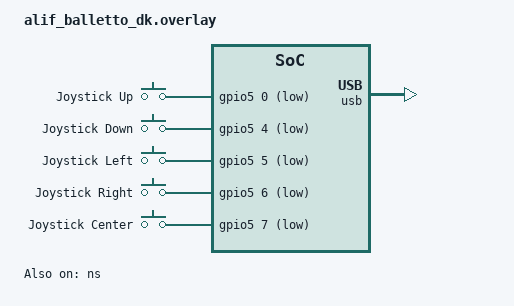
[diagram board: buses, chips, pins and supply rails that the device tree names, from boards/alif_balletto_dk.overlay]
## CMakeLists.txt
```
# Copyright Alif Semiconductor - All Rights Reserved.

cmake_minimum_required(VERSION 3.20.0)

# One suite per image. -DCONFIG_HID_TEST_* must be set before find_package
# so the matching overlay and product string are applied.
if(CONFIG_HID_TEST_KEYBOARD)
  list(APPEND EXTRA_DTC_OVERLAY_FILE
       "${CMAKE_CURRENT_LIST_DIR}/overlay-keyboard.overlay")
  list(APPEND EXTRA_CONF_FILE
       "${CMAKE_CURRENT_LIST_DIR}/extras-keyboard.conf")
elseif(CONFIG_HID_TEST_JOYSTICK)
  list(APPEND EXTRA_DTC_OVERLAY_FILE
       "${CMAKE_CURRENT_LIST_DIR}/overlay-joystick.overlay")
  list(APPEND EXTRA_CONF_FILE
       "${CMAKE_CURRENT_LIST_DIR}/extras-joystick.conf")
  if(BOARD MATCHES "alif_e[78]_dk")
    list(APPEND EXTRA_DTC_OVERLAY_FILE
         "${CMAKE_CURRENT_LIST_DIR}/boards/alif_ensemble_dk.overlay")
  elseif(BOARD MATCHES "alif_(e1c|b1)_dk")
    list(APPEND EXTRA_DTC_OVERLAY_FILE
         "${CMAKE_CURRENT_LIST_DIR}/boards/alif_balletto_dk.overlay")
  endif()
else()
  list(APPEND EXTRA_DTC_OVERLAY_FILE
       "${CMAKE_CURRENT_LIST_DIR}/overlay-mouse.overlay")
  list(APPEND EXTRA_CONF_FILE
       "${CMAKE_CURRENT_LIST_DIR}/extras-mouse.conf")
endif()

find_package(Zephyr REQUIRED HINTS $ENV{ZEPHYR_BASE})
project(alif_usb_hid_qa)

if(CONFIG_HID_TEST_KEYBOARD)
  target_sources(app PRIVATE src/test_hid_keyboard.c)
elseif(CONFIG_HID_TEST_JOYSTICK)
  target_sources(app PRIVATE src/test_hid_joystick.c)
else()
  target_sources(app PRIVATE src/test_hid_mouse.c)
endif()

include(${ZEPHYR_BASE}/samples/subsys/usb/common/common.cmake)
```

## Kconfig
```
# Source common USB sample options used to initialize USB device stack.
source "samples/subsys/usb/common/Kconfig.sample_usbd"

source "Kconfig.zephyr"

menu "Alif USB HID QA"

choice HID_TEST_SUITE
	prompt "HID QA suite to compile"
	default HID_TEST_MOUSE
	help
	  Pick one device. One image, one HID interface:

	    west build ... -- -DCONFIG_HID_TEST_MOUSE=y
	    west build ... -- -DCONFIG_HID_TEST_KEYBOARD=y
	    west build ... -- -DCONFIG_HID_TEST_JOYSTICK=y

config HID_TEST_MOUSE
	bool "Mouse (4-byte relative report)"

config HID_TEST_KEYBOARD
	bool "Keyboard (8-byte boot report)"

config HID_TEST_JOYSTICK
	bool "Joystick (3-byte report)"

endchoice

endmenu
```

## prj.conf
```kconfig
CONFIG_USB_DEVICE_STACK_NEXT=y
CONFIG_USBD_HID_SUPPORT=y
CONFIG_USBD_HID_IN_BUF_COUNT=64
CONFIG_UDC_DWC3=y

CONFIG_INPUT=y
CONFIG_INPUT_MODE_SYNCHRONOUS=y

CONFIG_SERIAL=y
CONFIG_STDOUT_CONSOLE=y

CONFIG_LOG=y
CONFIG_USBD_LOG_LEVEL_WRN=y
CONFIG_USBD_HID_LOG_LEVEL_WRN=y
CONFIG_UDC_DRIVER_LOG_LEVEL_WRN=y

CONFIG_ZTEST=y
CONFIG_ZTEST_STACK_SIZE=4096

CONFIG_SAMPLE_USBD_MANUFACTURER="Alif Semiconductor"
CONFIG_SAMPLE_USBD_PID=0x0008
```

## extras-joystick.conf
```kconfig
CONFIG_GPIO=y
CONFIG_INPUT_GPIO_KEYS=y
CONFIG_SAMPLE_USBD_PRODUCT="Alif HID Joystick"
```

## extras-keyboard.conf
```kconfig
CONFIG_SAMPLE_USBD_PRODUCT="Alif HID Keyboard"
```

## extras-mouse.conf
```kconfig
CONFIG_SAMPLE_USBD_PRODUCT="Alif HID Mouse"
```

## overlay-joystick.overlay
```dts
/*
 * Common USB + HID for all Alif boards. Joystick GPIOs stay in
 * boards/<board>.overlay so a plain west build picks this up.
 */

#include <dt-bindings/misc/alif_aipm_common.h>

&aipm_run_default {
	phy-pwr-gating = <ALIF_PHY_GATE_USB_MASK>;
};

&ns {
	status = "okay";
};

zephyr_udc0: &usb {
	status = "okay";
};

/* Board SW0 has no zephyr,code; INPUT_GPIO_KEYS requires one. */
&button0 {
	status = "disabled";
};

/ {
	hid_dev_0: hid_dev_0 {
		compatible = "zephyr,hid-device";
		interface-name = "HID0";
		protocol-code = "none";
		in-polling-period-us = <10000>;
		in-report-size = <64>;
	};
};
```

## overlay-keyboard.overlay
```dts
#include <dt-bindings/misc/alif_aipm_common.h>

&aipm_run_default {
	phy-pwr-gating = <ALIF_PHY_GATE_USB_MASK>;
};

&ns {
	status = "okay";
};

zephyr_udc0: &usb {
	status = "okay";
};

&button0 {
	status = "disabled";
};

/ {
	hid_dev_0: hid_dev_0 {
		compatible = "zephyr,hid-device";
		interface-name = "HID0";
		protocol-code = "keyboard";
		in-polling-period-us = <1000>;
		in-report-size = <64>;
	};
};
```

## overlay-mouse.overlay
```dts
#include <dt-bindings/misc/alif_aipm_common.h>

&aipm_run_default {
	phy-pwr-gating = <ALIF_PHY_GATE_USB_MASK>;
};

&ns {
	status = "okay";
};

zephyr_udc0: &usb {
	status = "okay";
};

&button0 {
	status = "disabled";
};

/ {
	hid_dev_0: hid_dev_0 {
		compatible = "zephyr,hid-device";
		interface-name = "HID0";
		protocol-code = "none";
		in-polling-period-us = <10000>;
		in-report-size = <4>;
	};
};
```

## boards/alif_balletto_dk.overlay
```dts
/*
 * Copyright (c) 2026 Alif Semiconductor.
 * SPDX-License-Identifier: Apache-2.0
 */

#include <dt-bindings/misc/alif_aipm_common.h>
#include <dt-bindings/input/input-event-codes.h>

&aipm_run_default {
	phy-pwr-gating = <ALIF_PHY_GATE_USB_MASK>;
};

ns: &ns{
	status = "okay";
};

zephyr_udc0: &usb {
	status = "okay";
};

&pinctrl_gpio5 {
	group0 {
		driver-state-control = <1>;
	};
};

&gpio5 {
	status = "okay";
};

/* Board SW0 must not emit input code 0 (sample treats that as unknown). */
&button0 {
	status = "disabled";
};

/ {
	hid_dev_0: hid_dev_0 {
		compatible = "zephyr,hid-device";
		interface-name = "HID0";
		protocol-code = "none";
		in-polling-period-us = <10000>;
		in-report-size = <64>;
	};

	joystick {
		compatible = "gpio-keys";

		joy_up: up {
			gpios = <&gpio5 0 GPIO_ACTIVE_LOW>;
			label = "Joystick Up";
			zephyr,code = <INPUT_KEY_UP>;
		};

		joy_down: down {
			gpios = <&gpio5 4 GPIO_ACTIVE_LOW>;
			label = "Joystick Down";
			zephyr,code = <INPUT_KEY_DOWN>;
		};

		joy_left: left {
			gpios = <&gpio5 5 GPIO_ACTIVE_LOW>;
			label = "Joystick Left";
			zephyr,code = <INPUT_KEY_LEFT>;
		};

		joy_right: right {
			gpios = <&gpio5 6 GPIO_ACTIVE_LOW>;
			label = "Joystick Right";
			zephyr,code = <INPUT_KEY_RIGHT>;
		};

		joy_center: center {
			gpios = <&gpio5 7 GPIO_ACTIVE_LOW>;
			label = "Joystick Center";
			zephyr,code = <INPUT_KEY_ENTER>;
		};
	};
};
```

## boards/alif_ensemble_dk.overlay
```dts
/*
 * Copyright (c) 2026 Alif Semiconductor.
 * SPDX-License-Identifier: Apache-2.0
 */

#include <dt-bindings/misc/alif_aipm_common.h>
#include <dt-bindings/input/input-event-codes.h>

&aipm_run_default {
	phy-pwr-gating = <ALIF_PHY_GATE_USB_MASK>;
};

ns: &ns{
	status = "okay";
};

zephyr_udc0: &usb {
	status = "okay";
};

&pinctrl_lpgpio {
	group0 {
		driver-state-control = <1>;
	};
};

&lpgpio {
	status = "okay";
};

/* Board SW0 is the same pad as joy_center (lpgpio 4). Disable the
 * gpio-keys duplicate so center maps to INPUT_KEY_ENTER, not code 0.
 */
&button0 {
	status = "disabled";
};

/ {
	hid_dev_0: hid_dev_0 {
		compatible = "zephyr,hid-device";
		interface-name = "HID0";
		protocol-code = "none";
		in-polling-period-us = <10000>;
		in-report-size = <64>;
	};

	joystick {
		compatible = "gpio-keys";

		joy_up: up {
			gpios = <&lpgpio 0 GPIO_ACTIVE_LOW>;
			label = "Joystick Up";
			zephyr,code = <INPUT_KEY_UP>;
		};

		joy_down: down {
			gpios = <&lpgpio 1 GPIO_ACTIVE_LOW>;
			label = "Joystick Down";
			zephyr,code = <INPUT_KEY_DOWN>;
		};

		joy_left: left {
			gpios = <&lpgpio 2 GPIO_ACTIVE_LOW>;
			label = "Joystick Left";
			zephyr,code = <INPUT_KEY_LEFT>;
		};

		joy_right: right {
			gpios = <&lpgpio 3 GPIO_ACTIVE_LOW>;
			label = "Joystick Right";
			zephyr,code = <INPUT_KEY_RIGHT>;
		};

		joy_center: center {
			gpios = <&lpgpio 4 GPIO_ACTIVE_LOW>;
			label = "Joystick Center";
			zephyr,code = <INPUT_KEY_ENTER>;
		};
	};
};
```

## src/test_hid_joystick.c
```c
/* Copyright Alif Semiconductor - All Rights Reserved.
 * Use, distribution and modification of this code is permitted under the
 * terms stated in the Alif Semiconductor Software License Agreement
 *
 * You should have received a copy of the Alif Semiconductor Software
 * License Agreement with this file. If not, please write to:
 * contact@alifsemi.com, or visit: https://alifsemi.com/license
 */

#include <zephyr/ztest.h>
#include <zephyr/device.h>
#include <zephyr/input/input.h>
#include <zephyr/usb/usbd.h>
#include <zephyr/usb/class/usb_hid.h>
#include <zephyr/usb/class/usbd_hid.h>
#include <zephyr/drivers/usb/udc_buf.h>
#include <zephyr/kernel.h>
#include <string.h>
#include <sample_usbd.h>

#define JOYSTICK_BUTTON          0
#define JOYSTICK_X               1
#define JOYSTICK_Y               2
#define JOYSTICK_REPORT_COUNT    3
#define JOYSTICK_AXIS_DELTA      20
#define STRESS_ITERATIONS        50
#define RAPID_TOGGLE_COUNT       20
#define PERF_INJECT_COUNT        200
#define PERF_SUBMIT_COUNT        50
#define IFACE_READY_TIMEOUT_MS   3000
#define REENUM_TIMEOUT_MS        10000

#define HID_JOYSTICK_REPORT_DESC(bcnt) \
{ \
	HID_USAGE_PAGE(HID_USAGE_GEN_DESKTOP), \
	HID_USAGE(HID_USAGE_GEN_DESKTOP_JOYSTICK), \
	HID_COLLECTION(HID_COLLECTION_APPLICATION), \
		HID_USAGE_PAGE(HID_USAGE_GEN_BUTTON), \
		HID_USAGE_MIN8(1), \
		HID_USAGE_MAX8(bcnt), \
		HID_LOGICAL_MIN8(0), \
		HID_LOGICAL_MAX8(1), \
		HID_REPORT_SIZE(1), \
		HID_REPORT_COUNT(bcnt), \
		HID_INPUT(0x02), \
		HID_REPORT_SIZE(8 - bcnt), \
		HID_REPORT_COUNT(1), \
		HID_INPUT(0x03), \
		HID_USAGE_PAGE(HID_USAGE_GEN_DESKTOP), \
		HID_USAGE(HID_USAGE_GEN_DESKTOP_X), \
		HID_USAGE(HID_USAGE_GEN_DESKTOP_Y), \
		HID_LOGICAL_MIN8(-127), \
		HID_LOGICAL_MAX8(127), \
		HID_REPORT_SIZE(8), \
		HID_REPORT_COUNT(2), \
		HID_INPUT(0x02), \
	HID_END_COLLECTION \
}

static const uint8_t hid_report_desc[] = HID_JOYSTICK_REPORT_DESC(1);
static const uint8_t report_neutral[JOYSTICK_REPORT_COUNT] = {0, 0, 0};

struct hid_joystick_qa_fixture {
	const struct device *hid_dev;
	struct usbd_context *usbd_ctx;
	int register_ret;
};

static struct hid_joystick_qa_fixture *g_hid;

/* DWC3 requires 32-byte aligned transfer buffers (same as the sample). */
UDC_STATIC_BUF_DEFINE(report, JOYSTICK_REPORT_COUNT);
static atomic_t hid_iface_ready;
static volatile int unrecognized_code;
static volatile int unrecognized_count;
static K_SEM_DEFINE(ep_write_sem, 0, 1);

static void iface_ready_cb(const struct device *dev, const bool ready)
{
	ARG_UNUSED(dev);
	atomic_set(&hid_iface_ready, ready ? 1 : 0);
	TC_PRINT("HID iface ready=%d\n", ready ? 1 : 0);
	if (ready) {
		k_sem_give(&ep_write_sem);
	}
}

static void input_report_done_cb(const struct device *dev, const uint8_t *const rpt)
{
	ARG_UNUSED(dev);
	ARG_UNUSED(rpt);
	k_sem_give(&ep_write_sem);
}

static int hid_get_report(const struct device *dev, const uint8_t type, const uint8_t id,
			  const uint16_t len, uint8_t *const buf)
{
	size_t n = MIN(len, (uint16_t)JOYSTICK_REPORT_COUNT);

	ARG_UNUSED(dev);
	ARG_UNUSED(type);
	ARG_UNUSED(id);

	if (n == 0) {
		return -ENOTSUP;
	}

	memcpy(buf, report, n);
	return (int)n;
}

static const struct hid_device_ops hid_ops = {
	.iface_ready = iface_ready_cb,
	.get_report = hid_get_report,
	.input_report_done = input_report_done_cb,
};

static void input_cb(struct input_event *evt, void *user_data)
{
	ARG_UNUSED(user_data);

	switch (evt->code) {
	case INPUT_KEY_RIGHT:
		report[JOYSTICK_X] = evt->value ? JOYSTICK_AXIS_DELTA : 0;
		break;
	case INPUT_KEY_LEFT:
		report[JOYSTICK_X] = evt->value ? (uint8_t)(-JOYSTICK_AXIS_DELTA) : 0;
		break;
	case INPUT_KEY_UP:
		report[JOYSTICK_Y] = evt->value ? (uint8_t)(-JOYSTICK_AXIS_DELTA) : 0;
		break;
	case INPUT_KEY_DOWN:
		report[JOYSTICK_Y] = evt->value ? JOYSTICK_AXIS_DELTA : 0;
		break;
	case INPUT_KEY_ENTER:
		WRITE_BIT(report[JOYSTICK_BUTTON], 0, evt->value);
		break;
	default:
		unrecognized_code = evt->code;
		unrecognized_count++;
		return;
	}
}

INPUT_CALLBACK_DEFINE(NULL, input_cb, NULL);

static void wait_iface_ready_ms(int timeout_ms)
{
	int waited = 0;

	while (!atomic_get(&hid_iface_ready) && waited < timeout_ms) {
		k_sleep(K_MSEC(50));
		waited += 50;
	}
}

static void wait_iface_ready(void)
{
	wait_iface_ready_ms(IFACE_READY_TIMEOUT_MS);
}

/* Host re-enumeration after usbd_disable can take several seconds. */
static void wait_host_reenum(void)
{
	wait_iface_ready_ms(REENUM_TIMEOUT_MS);
	TC_PRINT("HID iface ready=%d after re-enum wait\n",
		 atomic_get(&hid_iface_ready) ? 1 : 0);
}

static void skip_if_no_host(void)
{
	if (!atomic_get(&hid_iface_ready)) {
		TC_PRINT("HID iface not ready (no host), skipping\n");
		ztest_test_skip();
	}
}

/*
 * Do not wait for input_report_done before the first submit: that callback
 * only runs after the host ACKs interrupt IN (e.g. hidraw open). If nobody
 * is reading hidraw, a pre-wait times out and poisons later disable/enable.
 * On -ENOMEM wait briefly for a completed IN and retry.
 */
static int submit_hid_report(const struct device *hid_dev)
{
	int err;
	int tries = 5;

	while (tries--) {
		err = hid_device_submit_report(hid_dev, JOYSTICK_REPORT_COUNT, report);
		if (err != -ENOMEM) {
			return err;
		}
		if (k_sem_take(&ep_write_sem, K_MSEC(200)) != 0) {
			TC_PRINT("HID IN pool empty and host not completing reports\n");
			return -ENOMEM;
		}
	}

	return err;
}

static void inject_key(uint16_t code, int32_t value)
{
	int err = input_report_key(NULL, code, value, true, K_FOREVER);

	zassert_equal(err, 0, "input_report_key(%u, %d) failed (%d)", code, value, err);
}

static void *hid_suite_setup(void)
{
	static struct hid_joystick_qa_fixture fixture;
	int err;

	TC_PRINT("\n*** hid_joystick_qa ztest (not the hid-joystick sample) ***\n");

	memset(report, 0, sizeof(report));
	unrecognized_count = 0;
	atomic_set(&hid_iface_ready, 0);

	fixture.hid_dev = DEVICE_DT_GET_ONE(zephyr_hid_device);
	zassert_not_null(fixture.hid_dev, "HID device not found in DT");
	zassert_true(device_is_ready(fixture.hid_dev), "HID device not ready");

	fixture.register_ret = hid_device_register(fixture.hid_dev, hid_report_desc,
						   sizeof(hid_report_desc), &hid_ops);
	zassert_equal(fixture.register_ret, 0,
		      "hid_device_register failed (%d)", fixture.register_ret);

	fixture.usbd_ctx = sample_usbd_init_device(NULL);
	zassert_not_null(fixture.usbd_ctx, "USB device init failed");

	err = usbd_enable(fixture.usbd_ctx);
	zassert_equal(err, 0, "usbd_enable failed (%d)", err);

	TC_PRINT("USB HID joystick stack initialized and enabled\n");
	wait_iface_ready();
	g_hid = &fixture;
	return &fixture;
}

static void hid_suite_before(void *f)
{
	ARG_UNUSED(f);
	memset(report, 0, sizeof(report));
	unrecognized_code = -1;
	unrecognized_count = 0;
}

static void hid_suite_teardown(void *f)
{
	ARG_UNUSED(f);
	TC_PRINT("USB device stack remains enabled for host enumeration\n");
}

/*
 * HID Device Ready
 *
 * Purpose : Confirm the zephyr,hid-device node is present and the driver
 *           bound (same check as sample main() before usb_enable).
 * Method  : DEVICE_DT_GET_ONE(zephyr_hid_device) + device_is_ready().
 * Pass    : Device pointer is non-NULL and ready.
 * Fail    : Node missing or driver not initialized.
 */
ZTEST_F(hid_joystick_qa, test_hid_device_ready)
{
	zassert_not_null(fixture->hid_dev, "HID device is NULL");
	zassert_true(device_is_ready(fixture->hid_dev), "HID device not ready");
	TC_PRINT("HID device %s ready\n", fixture->hid_dev->name);
}

/*
 * HID Device Register
 *
 * Purpose : Register the joystick HID report descriptor and callbacks
 *           (sample hid_device_register path).
 * Method  : Record the setup-time hid_device_register() return value.
 * Pass    : Return value is 0.
 * Fail    : Register returned a non-zero errno.
 */
ZTEST_F(hid_joystick_qa, test_hid_device_register)
{
	zassert_equal(fixture->register_ret, 0,
		      "hid_device_register failed (%d)", fixture->register_ret);
}

/*
 * HID Report Descriptor
 *
 * Purpose : Validate the descriptor is a Generic Desktop Joystick (Usage 0x04)
 *           matching samples/subsys/usb/hid-joystick.
 * Method  : Inspect the static report descriptor bytes.
 * Pass    : Usage Page Desktop (0x05 0x01) and Usage Joystick (0x09 0x04).
 * Fail    : Descriptor too short or wrong usage.
 */
ZTEST_F(hid_joystick_qa, test_hid_report_descriptor)
{
	zassert_true(sizeof(hid_report_desc) >= 6, "Report descriptor too small");
	zassert_equal(hid_report_desc[0], 0x05, "Missing Usage Page");
	zassert_equal(hid_report_desc[1], HID_USAGE_GEN_DESKTOP, "Not Generic Desktop");
	zassert_equal(hid_report_desc[2], 0x09, "Missing Usage");
	zassert_equal(hid_report_desc[3], HID_USAGE_GEN_DESKTOP_JOYSTICK,
		      "Usage is not Joystick (0x04)");
	TC_PRINT("HID report descriptor size=%u joystick usage OK\n",
		 (unsigned int)sizeof(hid_report_desc));
}

/*
 * HID Interface Ready
 *
 * Purpose : Host enumerated the HID interface (QA: dmesg hid-generic Joystick,
 *           /dev/hidraw0). Matches sample log "HID iface ready=1".
 * Method  : Wait up to 3 s for iface_ready callback.
 * Pass    : hid_iface_ready is true.
 * Fail    : Timeout with no host (skip so suite can still run unattended).
 */
ZTEST_F(hid_joystick_qa, test_hid_iface_ready)
{
	wait_iface_ready();
	if (!atomic_get(&hid_iface_ready)) {
		TC_PRINT("Host not connected; plug USB device port and re-run\n");
		ztest_test_skip();
	}
	zassert_true(atomic_get(&hid_iface_ready), "HID iface not ready");
}

/*
 * USB Speed Capability
 *
 * Purpose : Query DWC3 speed capability (host log: high-speed xhci).
 * Method  : usbd_caps_speed().
 * Pass    : USBD_SPEED_FS or USBD_SPEED_HS.
 * Fail    : Unexpected speed value.
 */
ZTEST_F(hid_joystick_qa, test_usb_speed_capability)
{
	enum usbd_speed speed = usbd_caps_speed(fixture->usbd_ctx);

	TC_PRINT("USB controller speed capability: %s\n",
		 speed == USBD_SPEED_HS ? "High-Speed" :
		 speed == USBD_SPEED_FS ? "Full-Speed" : "Unknown");
	zassert_true(speed == USBD_SPEED_FS || speed == USBD_SPEED_HS,
		     "Unexpected speed capability %d", speed);
}

/*
 * USB Disable and Re-enable
 *
 * Purpose : Cable unplug/replug simulation (sample usbd_enable path).
 * Method  : usbd_disable(), 100 ms, usbd_enable(), 500 ms (cdc-acm).
 * Pass    : Both calls return 0.
 * Fail    : Non-zero error. Skip if no host at start.
 */
ZTEST_F(hid_joystick_qa, test_usb_disable_reenable)
{
	int err;

	skip_if_no_host();

	err = usbd_disable(fixture->usbd_ctx);
	if (err != 0) {
		TC_PRINT("Skipping usbd_disable: DWC3 halt (%d)\n", err);
		ztest_test_skip();
	}
	k_sleep(K_MSEC(100));

	err = usbd_enable(fixture->usbd_ctx);
	zassert_equal(err, 0, "usbd_enable (re-enable) failed (%d)", err);
	k_sleep(K_MSEC(500));
	wait_host_reenum();
}

/*
 * Joystick Axis Up
 *
 * Purpose : INPUT_KEY_UP sets Y = -20 (sample input_cb).
 * Method  : input_report_key(UP, 1).
 * Pass    : report Y is (uint8_t)-20, X and button unchanged.
 * Fail    : Axis byte mismatch.
 */
ZTEST_F(hid_joystick_qa, test_joystick_axis_up)
{
	inject_key(INPUT_KEY_UP, 1);
	zassert_equal(report[JOYSTICK_Y], (uint8_t)(-JOYSTICK_AXIS_DELTA),
		      "UP: Y=%u expected %u", report[JOYSTICK_Y],
		      (uint8_t)(-JOYSTICK_AXIS_DELTA));
	zassert_equal(report[JOYSTICK_X], 0, "UP must not change X");
	zassert_equal(report[JOYSTICK_BUTTON], 0, "UP must not set button");
}

/*
 * Joystick Axis Down
 *
 * Purpose : INPUT_KEY_DOWN sets Y = +20.
 * Method  : input_report_key(DOWN, 1).
 * Pass    : report Y is 20.
 * Fail    : Axis byte mismatch.
 */
ZTEST_F(hid_joystick_qa, test_joystick_axis_down)
{
	inject_key(INPUT_KEY_DOWN, 1);
	zassert_equal(report[JOYSTICK_Y], JOYSTICK_AXIS_DELTA,
		      "DOWN: Y=%u expected %u", report[JOYSTICK_Y],
		      JOYSTICK_AXIS_DELTA);
}

/*
 * Joystick Axis Left
 *
 * Purpose : INPUT_KEY_LEFT sets X = -20.
 * Method  : input_report_key(LEFT, 1).
 * Pass    : report X is (uint8_t)-20.
 * Fail    : Axis byte mismatch.
 */
ZTEST_F(hid_joystick_qa, test_joystick_axis_left)
{
	inject_key(INPUT_KEY_LEFT, 1);
	zassert_equal(report[JOYSTICK_X], (uint8_t)(-JOYSTICK_AXIS_DELTA),
		      "LEFT: X=%u expected %u", report[JOYSTICK_X],
		      (uint8_t)(-JOYSTICK_AXIS_DELTA));
}

/*
 * Joystick Axis Right
 *
 * Purpose : INPUT_KEY_RIGHT sets X = +20.
 * Method  : input_report_key(RIGHT, 1).
 * Pass    : report X is 20.
 * Fail    : Axis byte mismatch.
 */
ZTEST_F(hid_joystick_qa, test_joystick_axis_right)
{
	inject_key(INPUT_KEY_RIGHT, 1);
	zassert_equal(report[JOYSTICK_X], JOYSTICK_AXIS_DELTA,
		      "RIGHT: X=%u expected %u", report[JOYSTICK_X],
		      JOYSTICK_AXIS_DELTA);
}

/*
 * Joystick Button Center
 *
 * Purpose : INPUT_KEY_ENTER sets button bit 0 (center / SW2).
 * Method  : input_report_key(ENTER, 1).
 * Pass    : report byte 0 bit 0 is 1.
 * Fail    : Button bit not set (was the code-0 SW0 bug).
 */
ZTEST_F(hid_joystick_qa, test_joystick_button_center)
{
	inject_key(INPUT_KEY_ENTER, 1);
	zassert_equal(report[JOYSTICK_BUTTON] & BIT(0), BIT(0),
		      "CENTER: button byte=0x%02x", report[JOYSTICK_BUTTON]);
}

/*
 * Joystick Neutral Release
 *
 * Purpose : Releasing axes/button returns the HID report to 00 00 00
 *           (host hexdump idle pattern between presses).
 * Method  : Press UP then release; press ENTER then release.
 * Pass    : Report is all zeros after releases.
 * Fail    : Sticky axis or button bit.
 */
ZTEST_F(hid_joystick_qa, test_joystick_neutral_release)
{
	inject_key(INPUT_KEY_UP, 1);
	inject_key(INPUT_KEY_UP, 0);
	inject_key(INPUT_KEY_ENTER, 1);
	inject_key(INPUT_KEY_ENTER, 0);
	zassert_mem_equal(report, report_neutral, JOYSTICK_REPORT_COUNT,
			  "Neutral report is %02x %02x %02x",
			  report[0], report[1], report[2]);
}

/*
 * Diagonal: UP + RIGHT together.
 * Purpose : Both axes set; button stays 0.
 * Pass    : X=+20, Y=-20.
 */
ZTEST_F(hid_joystick_qa, test_joystick_diagonal)
{
	inject_key(INPUT_KEY_UP, 1);
	inject_key(INPUT_KEY_RIGHT, 1);
	zassert_equal(report[JOYSTICK_X], JOYSTICK_AXIS_DELTA, "diag X");
	zassert_equal(report[JOYSTICK_Y], (uint8_t)(-JOYSTICK_AXIS_DELTA), "diag Y");
	zassert_equal(report[JOYSTICK_BUTTON], 0, "diag button");
	TC_PRINT("Diagonal report %02x %02x %02x\n",
		 report[0], report[1], report[2]);
}

/*
 * Opposite axis override: LEFT then RIGHT.
 * Purpose : Last press wins on the same axis.
 * Pass    : X=+20 after RIGHT.
 */
ZTEST_F(hid_joystick_qa, test_joystick_axis_override)
{
	inject_key(INPUT_KEY_LEFT, 1);
	inject_key(INPUT_KEY_RIGHT, 1);
	zassert_equal(report[JOYSTICK_X], JOYSTICK_AXIS_DELTA,
		      "override X=%u", report[JOYSTICK_X]);
	TC_PRINT("Axis override: last RIGHT, X=%u\n", report[JOYSTICK_X]);
}

/*
 * Button + axis combo.
 * Purpose : Center and DOWN at the same time.
 * Pass    : button bit 0 and Y=+20.
 */
ZTEST_F(hid_joystick_qa, test_joystick_combo_button_axis)
{
	inject_key(INPUT_KEY_ENTER, 1);
	inject_key(INPUT_KEY_DOWN, 1);
	zassert_equal(report[JOYSTICK_BUTTON] & BIT(0), BIT(0), "combo button");
	zassert_equal(report[JOYSTICK_Y], JOYSTICK_AXIS_DELTA, "combo Y");
	TC_PRINT("Combo report %02x %02x %02x\n",
		 report[0], report[1], report[2]);
}

/*
 * Press all five directions then release all.
 * Purpose : No sticky bit after a full press set.
 * Pass    : Report is 00 00 00.
 */
ZTEST_F(hid_joystick_qa, test_joystick_all_release)
{
	inject_key(INPUT_KEY_UP, 1);
	inject_key(INPUT_KEY_DOWN, 1);
	inject_key(INPUT_KEY_LEFT, 1);
	inject_key(INPUT_KEY_RIGHT, 1);
	inject_key(INPUT_KEY_ENTER, 1);
	inject_key(INPUT_KEY_UP, 0);
	inject_key(INPUT_KEY_DOWN, 0);
	inject_key(INPUT_KEY_LEFT, 0);
	inject_key(INPUT_KEY_RIGHT, 0);
	inject_key(INPUT_KEY_ENTER, 0);
	zassert_mem_equal(report, report_neutral, JOYSTICK_REPORT_COUNT,
			  "sticky %02x %02x %02x",
			  report[0], report[1], report[2]);
	TC_PRINT("All-release verified 00 00 00\n");
}

/*
 * Rapid press/release of center.
 * Purpose : 20 toggles stay consistent; end released.
 * Pass    : Odd steps set bit 0; final report is 00 00 00.
 */
ZTEST_F(hid_joystick_qa, test_joystick_rapid_toggle)
{
	for (int i = 0; i < RAPID_TOGGLE_COUNT; i++) {
		inject_key(INPUT_KEY_ENTER, 1);
		zassert_equal(report[JOYSTICK_BUTTON] & BIT(0), BIT(0),
			      "press %d", i);
		inject_key(INPUT_KEY_ENTER, 0);
		zassert_equal(report[JOYSTICK_BUTTON], 0, "release %d", i);
	}
	TC_PRINT("Rapid toggle: %d press/release cycles\n", RAPID_TOGGLE_COUNT);
}

/*
 * GET_REPORT copies the current 3-byte joystick state.
 * Purpose : Host GET_REPORT path used by hid-generic.
 * Pass    : Returns 3 bytes matching the injected RIGHT report.
 */
ZTEST_F(hid_joystick_qa, test_hid_get_report)
{
	uint8_t buf[8];
	int n;

	inject_key(INPUT_KEY_RIGHT, 1);
	n = hid_get_report(fixture->hid_dev, 0, 0, sizeof(buf), buf);
	zassert_equal(n, JOYSTICK_REPORT_COUNT, "GET_REPORT len %d", n);
	zassert_equal(buf[JOYSTICK_X], JOYSTICK_AXIS_DELTA, "GET_REPORT X");
	zassert_equal(buf[JOYSTICK_Y], 0, "GET_REPORT Y");
	zassert_equal(buf[JOYSTICK_BUTTON], 0, "GET_REPORT button");
	TC_PRINT("GET_REPORT %02x %02x %02x\n", buf[0], buf[1], buf[2]);
}

/*
 * Timed input inject (no USB host required).
 * Purpose : How fast firmware maps keys into the HID report.
 * Pass    : All injects succeed. Rate is informational.
 */
ZTEST_F(hid_joystick_qa, test_perf_input_inject)
{
	uint32_t t0, ms, ev_s;

	t0 = k_uptime_get_32();
	for (int i = 0; i < PERF_INJECT_COUNT; i++) {
		inject_key(INPUT_KEY_UP, i & 1);
	}
	ms = k_uptime_get_32() - t0;
	if (ms == 0U) {
		ms = 1U;
	}
	ev_s = (PERF_INJECT_COUNT * 1000U) / ms;
	TC_PRINT("Input inject %d events in %u ms (%u ev/s)\n",
		 PERF_INJECT_COUNT, ms, ev_s);
	zassert_true(ev_s > 0, "inject throughput 0");
	inject_key(INPUT_KEY_UP, 0);
}

/*
 * Timed HID IN submit (needs host; runs before USB disable).
 * Purpose : Interrupt-IN report rate. Skip if no host.
 * Pass    : At least one submit OK. Rate informational. -ENOMEM stops loop.
 */
ZTEST_F(hid_joystick_qa, test_perf_submit_report)
{
	int ok = 0;
	int err;
	uint32_t t0, ms, rps;

	if (!atomic_get(&hid_iface_ready)) {
		TC_PRINT("HID iface not ready (no host), skipping\n");
		ztest_test_skip();
	}

	t0 = k_uptime_get_32();
	for (int i = 0; i < PERF_SUBMIT_COUNT; i++) {
		inject_key(INPUT_KEY_ENTER, i & 1);
		err = submit_hid_report(fixture->hid_dev);
		if (err == -ENOMEM) {
			TC_PRINT("HID IN pool empty after %d reports\n", ok);
			break;
		}
		zassert_equal(err, 0, "submit %d (%d)", i, err);
		ok++;
	}
	ms = k_uptime_get_32() - t0;
	if (ms == 0U) {
		ms = 1U;
	}
	rps = (ok * 1000U) / ms;
	TC_PRINT("HID submit %d reports in %u ms (%u rps)\n", ok, ms, rps);
	zassert_true(ok >= 1, "no report submitted");
}

/*
 * HID Submit Report
 *
 * Purpose : Send one 3-byte joystick report on the interrupt IN pipe
 *           (sample hid_device_submit_report / host hidraw).
 * Method  : Build a right-deflect report and submit if iface is ready.
 * Pass    : hid_device_submit_report returns 0.
 * Fail    : Submit error. Skip if no host.
 */
ZTEST(hid_joystick_submit, test_hid_submit_report)
{
	int err;

	zassert_not_null(g_hid, "HID fixture not initialized");
	skip_if_no_host();
	zassert_true(IS_UDC_ALIGNED(report), "HID report buffer is not UDC aligned");
	inject_key(INPUT_KEY_RIGHT, 1);

	err = submit_hid_report(g_hid->hid_dev);
	zassert_equal(err, 0, "hid_device_submit_report failed (%d)", err);
}

/*
 * Input Unrecognized Code
 *
 * Purpose : Unknown input codes are ignored (sample LOG_INF
 *           "Unrecognized input code"). Code 0 must not change the report.
 * Method  : input_report_key(0, 1).
 * Pass    : unrecognized_count increments; report stays 00 00 00.
 * Fail    : Report mutated or callback did not count the unknown code.
 */
ZTEST_F(hid_joystick_qa, test_input_unrecognized_code)
{
	inject_key(0, 1);
	zassert_true(unrecognized_count >= 1, "Unknown code was not logged");
	zassert_equal(unrecognized_code, 0, "Expected code 0, got %d", unrecognized_code);
	zassert_mem_equal(report, report_neutral, JOYSTICK_REPORT_COUNT,
			  "Unknown code must not mutate report");
}

/*
 * USB Disable/Enable Stress
 *
 * Purpose : Repeated disable/enable (QA cable stress).
 * Method  : Up to 5 cycles of usbd_disable (100 ms) / usbd_enable
 *           (500 ms). After each enable, wait for the host to
 *           re-enumerate. DWC3 cannot stop if SET_CONFIGURATION never
 *           comes back, so further cycles are stopped (not failed).
 * Pass    : Attempted disable/enable returns 0, or SKIP if DWC3 cannot stop
 *           (timeout after HID IN burst / SET_CONFIGURATION). Not a fail.
 * Fail    : usbd_enable fails after a successful disable.
 */
ZTEST_F(hid_joystick_qa, test_usb_disable_enable_stress)
{
	int err;
	int completed = 0;

	skip_if_no_host();

	for (int i = 0; i < 5; i++) {
		if (!atomic_get(&hid_iface_ready)) {
			TC_PRINT("Host not configured; stop stress after %d cycle(s)\n",
				 completed);
			break;
		}

		err = usbd_disable(fixture->usbd_ctx);
		if (err != 0) {
			TC_PRINT("Skipping usbd_disable: DWC3 halt (%d) after %d cycle(s)\n",
				 err, completed);
			if (completed == 0) {
				ztest_test_skip();
			}
			break;
		}
		k_sleep(K_MSEC(100));

		err = usbd_enable(fixture->usbd_ctx);
		zassert_equal(err, 0, "enable cycle %d failed (%d)", i, err);
		k_sleep(K_MSEC(500));
		completed++;
		TC_PRINT("USB disable/enable cycle %d done\n", i);

		wait_host_reenum();
	}
}

/*
 * HID Submit Report Stress
 *
 * Purpose : Burst of HID IN reports (host hexdump stream).
 * Method  : 50 submit_report calls with alternating button state.
 * Pass    : All submits return 0.
 * Fail    : Any submit error. Skip if no host.
 */
ZTEST(hid_joystick_submit, test_hid_submit_report_stress)
{
	int err;

	zassert_not_null(g_hid, "HID fixture not initialized");
	skip_if_no_host();
	for (int i = 0; i < STRESS_ITERATIONS; i++) {
		inject_key(INPUT_KEY_ENTER, i & 1);
		err = submit_hid_report(g_hid->hid_dev);
		zassert_equal(err, 0, "submit %d failed (%d)", i, err);
	}
}

/*
 * Report pack helpers (no USB) — same 3-byte layout as the sample.
 */
ZTEST(hid_joystick_basic, test_report_pack_button)
{
	uint8_t rpt[JOYSTICK_REPORT_COUNT] = {0};

	WRITE_BIT(rpt[JOYSTICK_BUTTON], 0, 1);
	zassert_equal(rpt[0], 0x01, "Button pack");
	zassert_equal(rpt[1], 0, "X must stay 0");
	zassert_equal(rpt[2], 0, "Y must stay 0");
}

ZTEST(hid_joystick_basic, test_report_pack_axes)
{
	uint8_t rpt[JOYSTICK_REPORT_COUNT] = {0};

	rpt[JOYSTICK_X] = JOYSTICK_AXIS_DELTA;
	rpt[JOYSTICK_Y] = (uint8_t)(-JOYSTICK_AXIS_DELTA);
	zassert_equal(rpt[1], 20, "X pack");
	zassert_equal(rpt[2], (uint8_t)(-20), "Y pack");
}

ZTEST(hid_joystick_basic, test_report_neutral)
{
	uint8_t rpt[JOYSTICK_REPORT_COUNT] = {0x01, 20, 20};

	memset(rpt, 0, sizeof(rpt));
	zassert_mem_equal(rpt, report_neutral, JOYSTICK_REPORT_COUNT, "Neutral pack");
}

static void *hid_submit_suite_setup(void)
{
	/* USB stack is initialized by hid_joystick_qa (runs first). */
	if (g_hid == NULL) {
		return hid_suite_setup();
	}
	return g_hid;
}

ZTEST_SUITE(hid_joystick_basic, NULL, NULL, NULL, NULL, NULL);

ZTEST_SUITE(hid_joystick_qa, NULL, hid_suite_setup, hid_suite_before, NULL,
	    hid_suite_teardown);

ZTEST_SUITE(hid_joystick_submit, NULL, hid_submit_suite_setup, hid_suite_before,
	    NULL, NULL);
```

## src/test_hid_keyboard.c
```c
/* Copyright Alif Semiconductor - All Rights Reserved.
 * USB HID keyboard QA (device-side). No driver changes.
 */

#include <zephyr/ztest.h>
#include <zephyr/device.h>
#include <zephyr/input/input.h>
#include <zephyr/usb/usbd.h>
#include <zephyr/usb/class/usbd_hid.h>
#include <zephyr/usb/class/hid.h>
#include <zephyr/drivers/usb/udc_buf.h>
#include <zephyr/kernel.h>
#include <string.h>
#include <sample_usbd.h>

enum kb_report_idx {
	KB_MOD = 0,
	KB_RESERVED,
	KB_KEY1,
	KB_KEY2,
	KB_KEY3,
	KB_KEY4,
	KB_KEY5,
	KB_KEY6,
	KB_REPORT_COUNT,
};

#define PERF_INJECT_COUNT	200
#define PERF_SUBMIT_COUNT	50
#define IFACE_READY_TIMEOUT_MS	3000

static const uint8_t hid_report_desc[] = HID_KEYBOARD_REPORT_DESC();
static const uint8_t report_neutral[KB_REPORT_COUNT];

struct hid_keyboard_qa_fixture {
	const struct device *hid_dev;
	struct usbd_context *usbd_ctx;
	int register_ret;
};

static struct hid_keyboard_qa_fixture *g_hid;
UDC_STATIC_BUF_DEFINE(report, KB_REPORT_COUNT);
static atomic_t hid_iface_ready;
static uint8_t last_led_report;
static uint8_t hid_protocol = HID_PROTOCOL_REPORT;
static K_SEM_DEFINE(ep_write_sem, 0, 1);

static void iface_ready_cb(const struct device *dev, const bool ready)
{
	ARG_UNUSED(dev);
	atomic_set(&hid_iface_ready, ready ? 1 : 0);
	TC_PRINT("HID iface ready=%d\n", ready ? 1 : 0);
}

static void input_report_done_cb(const struct device *dev, const uint8_t *const rpt)
{
	ARG_UNUSED(dev);
	ARG_UNUSED(rpt);
	k_sem_give(&ep_write_sem);
}

static int hid_get_report(const struct device *dev, const uint8_t type, const uint8_t id,
			  const uint16_t len, uint8_t *const buf)
{
	size_t n = MIN(len, (uint16_t)KB_REPORT_COUNT);

	ARG_UNUSED(dev);
	ARG_UNUSED(type);
	ARG_UNUSED(id);
	if (n == 0) {
		return -ENOTSUP;
	}
	memcpy(buf, report, n);
	return (int)n;
}

static int hid_set_report(const struct device *dev, const uint8_t type, const uint8_t id,
			  const uint16_t len, const uint8_t *const buf)
{
	ARG_UNUSED(dev);
	ARG_UNUSED(id);
	if (type != HID_REPORT_TYPE_OUTPUT || len == 0) {
		return -ENOTSUP;
	}
	last_led_report = buf[0];
	return 0;
}

/* Required when protocol-code = "keyboard" (boot interface). */
static void hid_set_protocol(const struct device *dev, const uint8_t proto)
{
	ARG_UNUSED(dev);
	hid_protocol = proto;
	TC_PRINT("HID protocol=%u\n", hid_protocol);
}

static const struct hid_device_ops hid_ops = {
	.iface_ready = iface_ready_cb,
	.get_report = hid_get_report,
	.set_report = hid_set_report,
	.set_protocol = hid_set_protocol,
	.input_report_done = input_report_done_cb,
};

static void input_cb(struct input_event *evt, void *user_data)
{
	ARG_UNUSED(user_data);

	switch (evt->code) {
	case INPUT_KEY_A:
		report[KB_KEY1] = evt->value ? HID_KEY_A : 0;
		break;
	case INPUT_KEY_B:
		report[KB_KEY2] = evt->value ? HID_KEY_B : 0;
		break;
	case INPUT_KEY_ENTER:
		report[KB_KEY3] = evt->value ? HID_KEY_ENTER : 0;
		break;
	case INPUT_KEY_LEFTSHIFT:
		if (evt->value) {
			report[KB_MOD] |= HID_KBD_MODIFIER_LEFT_SHIFT;
		} else {
			report[KB_MOD] &= (uint8_t)~HID_KBD_MODIFIER_LEFT_SHIFT;
		}
		break;
	default:
		return;
	}
}

INPUT_CALLBACK_DEFINE(NULL, input_cb, NULL);

static void skip_if_no_host(void)
{
	if (!atomic_get(&hid_iface_ready)) {
		TC_PRINT("HID iface not ready (no host), skipping\n");
		ztest_test_skip();
	}
}

static void inject_key(uint16_t code, int32_t value)
{
	int err = input_report_key(NULL, code, value, true, K_FOREVER);

	zassert_equal(err, 0, "input_report_key(%u,%d) %d", code, value, err);
}

static int submit_hid_report(const struct device *hid_dev)
{
	int err;
	int tries = 5;

	while (tries--) {
		err = hid_device_submit_report(hid_dev, KB_REPORT_COUNT, report);
		if (err != -ENOMEM) {
			return err;
		}
		if (k_sem_take(&ep_write_sem, K_MSEC(200)) != 0) {
			return -ENOMEM;
		}
	}
	return err;
}

static void *hid_suite_setup(void)
{
	static struct hid_keyboard_qa_fixture fixture;
	int err;

	TC_PRINT("\n*** hid_keyboard_qa ztest (not the hid-keyboard sample) ***\n");
	memset(report, 0, sizeof(report));
	atomic_set(&hid_iface_ready, 0);

	fixture.hid_dev = DEVICE_DT_GET_ONE(zephyr_hid_device);
	zassert_true(device_is_ready(fixture.hid_dev), "HID not ready");

	fixture.register_ret = hid_device_register(fixture.hid_dev, hid_report_desc,
						   sizeof(hid_report_desc), &hid_ops);
	zassert_equal(fixture.register_ret, 0, "register %d", fixture.register_ret);
	if (fixture.register_ret != 0) {
		g_hid = &fixture;
		return &fixture;
	}

	fixture.usbd_ctx = sample_usbd_init_device(NULL);
	zassert_not_null(fixture.usbd_ctx, "USB init failed");
	err = usbd_enable(fixture.usbd_ctx);
	zassert_equal(err, 0, "usbd_enable %d", err);

	TC_PRINT("USB HID keyboard stack initialized and enabled\n");
	{
		int waited = 0;

		while (!atomic_get(&hid_iface_ready) && waited < IFACE_READY_TIMEOUT_MS) {
			k_sleep(K_MSEC(50));
			waited += 50;
		}
	}
	g_hid = &fixture;
	return &fixture;
}

static void hid_suite_before(void *f)
{
	ARG_UNUSED(f);
	memset(report, 0, sizeof(report));
	last_led_report = 0;
}

ZTEST_F(hid_keyboard_qa, test_hid_device_ready)
{
	zassert_true(device_is_ready(fixture->hid_dev), "HID not ready");
	TC_PRINT("HID device %s ready\n", fixture->hid_dev->name);
}

ZTEST_F(hid_keyboard_qa, test_hid_device_register)
{
	zassert_equal(fixture->register_ret, 0);
}

ZTEST_F(hid_keyboard_qa, test_hid_report_descriptor)
{
	zassert_equal(hid_report_desc[0], 0x05);
	zassert_equal(hid_report_desc[1], HID_USAGE_GEN_DESKTOP);
	zassert_equal(hid_report_desc[3], HID_USAGE_GEN_DESKTOP_KEYBOARD);
	TC_PRINT("HID keyboard descriptor size=%u\n",
		 (unsigned int)sizeof(hid_report_desc));
}

ZTEST_F(hid_keyboard_qa, test_hid_iface_ready)
{
	if (!atomic_get(&hid_iface_ready)) {
		ztest_test_skip();
	}
}

ZTEST_F(hid_keyboard_qa, test_usb_speed_capability)
{
	enum usbd_speed speed = usbd_caps_speed(fixture->usbd_ctx);

	TC_PRINT("USB speed: %s\n",
		 speed == USBD_SPEED_HS ? "High-Speed" : "Full-Speed");
	zassert_true(speed == USBD_SPEED_FS || speed == USBD_SPEED_HS);
}

ZTEST_F(hid_keyboard_qa, test_key_a)
{
	inject_key(INPUT_KEY_A, 1);
	zassert_equal(report[KB_KEY1], HID_KEY_A);
	TC_PRINT("Key A = %u\n", report[KB_KEY1]);
}

ZTEST_F(hid_keyboard_qa, test_key_enter)
{
	inject_key(INPUT_KEY_ENTER, 1);
	zassert_equal(report[KB_KEY3], HID_KEY_ENTER);
}

ZTEST_F(hid_keyboard_qa, test_modifier_shift)
{
	inject_key(INPUT_KEY_LEFTSHIFT, 1);
	zassert_equal(report[KB_MOD], HID_KBD_MODIFIER_LEFT_SHIFT);
}

ZTEST_F(hid_keyboard_qa, test_shift_plus_a)
{
	inject_key(INPUT_KEY_LEFTSHIFT, 1);
	inject_key(INPUT_KEY_A, 1);
	zassert_equal(report[KB_MOD], HID_KBD_MODIFIER_LEFT_SHIFT);
	zassert_equal(report[KB_KEY1], HID_KEY_A);
	TC_PRINT("Shift+A mod=0x%02x key=%u\n", report[KB_MOD], report[KB_KEY1]);
}

ZTEST_F(hid_keyboard_qa, test_multi_key)
{
	inject_key(INPUT_KEY_A, 1);
	inject_key(INPUT_KEY_B, 1);
	zassert_equal(report[KB_KEY1], HID_KEY_A);
	zassert_equal(report[KB_KEY2], HID_KEY_B);
}

ZTEST_F(hid_keyboard_qa, test_key_release)
{
	inject_key(INPUT_KEY_A, 1);
	inject_key(INPUT_KEY_LEFTSHIFT, 1);
	inject_key(INPUT_KEY_A, 0);
	inject_key(INPUT_KEY_LEFTSHIFT, 0);
	zassert_mem_equal(report, report_neutral, KB_REPORT_COUNT);
	TC_PRINT("Release all zeros\n");
}

ZTEST_F(hid_keyboard_qa, test_hid_get_report)
{
	uint8_t buf[16];
	int n;

	inject_key(INPUT_KEY_A, 1);
	n = hid_get_report(fixture->hid_dev, 0, 0, sizeof(buf), buf);
	zassert_equal(n, KB_REPORT_COUNT);
	zassert_equal(buf[KB_KEY1], HID_KEY_A);
	TC_PRINT("GET_REPORT key1=%u\n", buf[KB_KEY1]);
}

ZTEST_F(hid_keyboard_qa, test_set_report_leds)
{
	uint8_t leds = BIT(0) | BIT(1); /* NumLock + CapsLock */
	int err = hid_set_report(fixture->hid_dev, HID_REPORT_TYPE_OUTPUT, 0, 1, &leds);

	zassert_equal(err, 0);
	zassert_equal(last_led_report, leds);
	TC_PRINT("SET_REPORT LEDs 0x%02x\n", last_led_report);
}

ZTEST_F(hid_keyboard_qa, test_perf_input_inject)
{
	uint32_t t0 = k_uptime_get_32();
	uint32_t ms, ev_s;

	for (int i = 0; i < PERF_INJECT_COUNT; i++) {
		inject_key(INPUT_KEY_A, i & 1);
	}
	ms = k_uptime_get_32() - t0;
	if (ms == 0U) {
		ms = 1U;
	}
	ev_s = (PERF_INJECT_COUNT * 1000U) / ms;
	TC_PRINT("Input inject %d in %u ms (%u ev/s)\n", PERF_INJECT_COUNT, ms, ev_s);
	zassert_true(ev_s > 0);
}

ZTEST_F(hid_keyboard_qa, test_perf_submit_report)
{
	int ok = 0, err;
	uint32_t t0, ms;

	skip_if_no_host();
	t0 = k_uptime_get_32();
	for (int i = 0; i < PERF_SUBMIT_COUNT; i++) {
		inject_key(INPUT_KEY_A, i & 1);
		err = submit_hid_report(fixture->hid_dev);
		if (err == -ENOMEM) {
			break;
		}
		zassert_equal(err, 0, "submit %d %d", i, err);
		ok++;
	}
	ms = k_uptime_get_32() - t0;
	if (ms == 0U) {
		ms = 1U;
	}
	TC_PRINT("HID submit %d reports in %u ms (%u rps)\n",
		 ok, ms, (ok * 1000U) / ms);
	zassert_true(ok >= 1);
}

ZTEST(hid_keyboard_basic, test_report_pack_key)
{
	uint8_t rpt[KB_REPORT_COUNT] = {0};

	rpt[KB_KEY1] = HID_KEY_A;
	zassert_equal(rpt[2], HID_KEY_A);
}

ZTEST(hid_keyboard_basic, test_report_pack_modifier)
{
	uint8_t rpt[KB_REPORT_COUNT] = {0};

	rpt[KB_MOD] = HID_KBD_MODIFIER_LEFT_SHIFT;
	zassert_equal(rpt[0], HID_KBD_MODIFIER_LEFT_SHIFT);
}

ZTEST(hid_keyboard_basic, test_report_neutral)
{
	uint8_t rpt[KB_REPORT_COUNT];

	memset(rpt, 0xFF, sizeof(rpt));
	memset(rpt, 0, sizeof(rpt));
	zassert_mem_equal(rpt, report_neutral, KB_REPORT_COUNT);
}

ZTEST_SUITE(hid_keyboard_basic, NULL, NULL, NULL, NULL, NULL);
ZTEST_SUITE(hid_keyboard_qa, NULL, hid_suite_setup, hid_suite_before, NULL, NULL);
```
